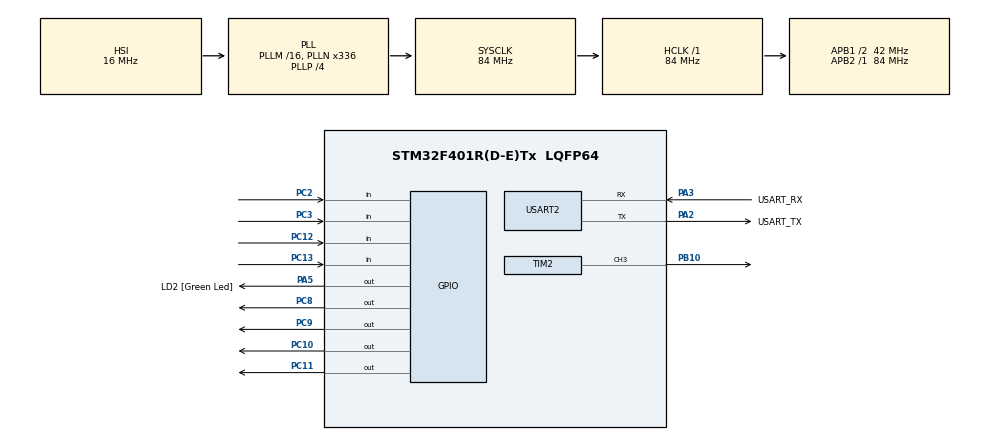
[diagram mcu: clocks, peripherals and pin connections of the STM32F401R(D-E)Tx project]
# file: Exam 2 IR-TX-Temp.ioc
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ADC1.Channel-0\#ChannelRegularConversion=ADC_CHANNEL_TEMPSENSOR
ADC1.NbrOfConversionFlag=1
ADC1.Rank-0\#ChannelRegularConversion=1
ADC1.SamplingTime-0\#ChannelRegularConversion=ADC_SAMPLETIME_480CYCLES
ADC1.master=1
Dma.ADC1.0.Direction=DMA_PERIPH_TO_MEMORY
Dma.ADC1.0.FIFOMode=DMA_FIFOMODE_DISABLE
Dma.ADC1.0.Instance=DMA2_Stream0
Dma.ADC1.0.MemDataAlignment=DMA_MDATAALIGN_HALFWORD
Dma.ADC1.0.MemInc=DMA_MINC_ENABLE
Dma.ADC1.0.Mode=DMA_CIRCULAR
Dma.ADC1.0.PeriphDataAlignment=DMA_PDATAALIGN_HALFWORD
Dma.ADC1.0.PeriphInc=DMA_PINC_DISABLE
Dma.ADC1.0.Priority=DMA_PRIORITY_LOW
Dma.Request0=ADC1
Mcu.Family=STM32F4
Mcu.Name=STM32F401R(D-E)Tx
Mcu.Package=LQFP64
NVIC.ADC_IRQn=true\:0\:0\:false\:false\:true\:true\:true\:true
NVIC.DMA2_Stream0_IRQn=true\:0\:0\:false\:false\:true\:false\:true\:true
NVIC.PriorityGroup=NVIC_PRIORITYGROUP_0
NVIC.TIM1_UP_TIM10_IRQn=true\:0\:0\:false\:false\:true\:true\:true\:true
NVIC.TIM2_IRQn=true\:0\:0\:false\:false\:true\:true\:true\:true
NVIC.TIM3_IRQn=true\:0\:0\:false\:false\:true\:true\:true\:true
PA13.GPIO_Label=TMS
PA13.Mode=Serial_Wire
PA13.Signal=SYS_JTMS-SWDIO
PA14.GPIO_Label=TCK
PA14.Mode=Serial_Wire
PA14.Signal=SYS_JTCK-SWCLK
PA2.GPIO_Label=USART_TX
PA2.GPIO_Mode=GPIO_MODE_AF_PP
PA2.GPIO_PuPd=GPIO_NOPULL
PA2.GPIO_Speed=GPIO_SPEED_FREQ_LOW
PA2.Mode=Asynchronous
PA2.Signal=USART2_TX
PA3.GPIO_Label=USART_RX
PA3.GPIO_Mode=GPIO_MODE_AF_PP
PA3.GPIO_PuPd=GPIO_NOPULL
PA3.GPIO_Speed=GPIO_SPEED_FREQ_LOW
PA3.Mode=Asynchronous
PA3.Signal=USART2_RX
PA5.GPIO_Label=LD2 [Green Led]
PA5.GPIO_Mode=GPIO_MODE_OUTPUT_PP
PA5.GPIO_PuPd=GPIO_NOPULL
PA5.GPIO_Speed=GPIO_SPEED_FREQ_LOW
PA5.Signal=GPIO_Output
PB10.Signal=S_TIM2_CH3
PB3.GPIO_Label=SWO
PB3.Signal=SYS_JTDO-SWO
PC10.Signal=GPIO_Output
PC11.Signal=GPIO_Output
PC12.Signal=GPIO_Input
PC13-ANTI_TAMP.Signal=GPIO_Input
PC14-OSC32_IN.Mode=LSE-External-Oscillator
PC14-OSC32_IN.Signal=RCC_OSC32_IN
PC15-OSC32_OUT.Mode=LSE-External-Oscillator
PC15-OSC32_OUT.Signal=RCC_OSC32_OUT
PC2.Signal=GPIO_Input
PC3.Signal=GPIO_Input
PC8.Signal=GPIO_Output
PC9.Signal=GPIO_Output
PH0\ -\ OSC_IN.Mode=HSE-External-Clock-Source
PH0\ -\ OSC_IN.Signal=RCC_OSC_IN
PH1\ -\ OSC_OUT.Mode=HSE-External-Clock-Source
PH1\ -\ OSC_OUT.Signal=RCC_OSC_OUT
ProjectManager.HeapSize=0x200
ProjectManager.StackSize=0x400
ProjectManager.TargetToolchain=STM32CubeIDE
RCC.48MHZClocksFreq_Value=48000000
RCC.AHBFreq_Value=84000000
RCC.APB1CLKDivider=RCC_HCLK_DIV2
RCC.APB1Freq_Value=42000000
RCC.APB1TimFreq_Value=84000000
RCC.APB2Freq_Value=84000000
RCC.APB2TimFreq_Value=84000000
RCC.CortexFreq_Value=84000000
RCC.HCLKFreq_Value=84000000
RCC.HSE_VALUE=8000000
RCC.HSI_VALUE=16000000
RCC.PLLN=336
RCC.PLLP=RCC_PLLP_DIV4
RCC.PLLQ=7
RCC.SYSCLKFreq_VALUE=84000000
RCC.SYSCLKSource=RCC_SYSCLKSOURCE_PLLCLK
RCC.VCOOutputFreq_Value=336000000
SH.S_TIM2_CH3.0=TIM2_CH3,PWM Generation3 CH3
TIM1.Period=499
TIM1.Prescaler=69
TIM2.Channel-PWM\ Generation3\ CH3=TIM_CHANNEL_3
TIM2.Period=60
TIM2.Prescaler=35
TIM2.Pulse-PWM\ Generation3\ CH3=30
TIM3.Period=10000-1
TIM3.Prescaler=8400-1
USART2.VirtualMode=VM_ASYNC
VP_ADC1_TempSens_Input.Mode=IN-TempSens
VP_TIM1_VS_ClockSourceINT.Mode=Internal
VP_TIM2_VS_ClockSourceINT.Mode=Internal
VP_TIM3_VS_ClockSourceINT.Mode=Internal
board=NUCLEO-F401RE

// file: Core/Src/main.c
/* USER CODE BEGIN Header */
/**
 ******************************************************************************
 * @file           : main.c
 * @brief          : Main program body
 ******************************************************************************
 * @attention
 *
 * Copyright (c) 2023 STMicroelectronics.
 * All rights reserved.
 *
 * This software is licensed under terms that can be found in the LICENSE file
 * in the root directory of this software component.
 * If no LICENSE file comes with this software, it is provided AS-IS.
 *
 ******************************************************************************
 */
/* USER CODE END Header */
#include "main.h"

/* USER CODE BEGIN Includes */
#include <stdio.h>
#include <string.h>
/* USER CODE END Includes */

/* USER CODE BEGIN PD */
#define QUEUE_SIZE 100
#define N_ROWS_K 4
#define N_COLS_K 4
/* USER CODE END PD */

ADC_HandleTypeDef hadc1;
DMA_HandleTypeDef hdma_adc1;

TIM_HandleTypeDef htim1;
TIM_HandleTypeDef htim2;
TIM_HandleTypeDef htim3;

UART_HandleTypeDef huart2;

/* USER CODE BEGIN PV */
struct Queue {
	uint8_t items[QUEUE_SIZE];
	int front;
	int rear;
	int size;
} tx_queue;
int transmitting = 0;

const uint16_t k_input[] = { GPIO_PIN_3, GPIO_PIN_2, GPIO_PIN_13, GPIO_PIN_12 };
const uint16_t k_output[] = { GPIO_PIN_8, GPIO_PIN_9, GPIO_PIN_10, GPIO_PIN_11 };
uint16_t t;
/* USER CODE END PV */

void SystemClock_Config(void);
static void MX_GPIO_Init(void);
static void MX_DMA_Init(void);
static void MX_USART2_UART_Init(void);
static void MX_TIM2_Init(void);
static void MX_TIM3_Init(void);
static void MX_TIM1_Init(void);
static void MX_ADC1_Init(void);
/* USER CODE BEGIN PFP */
void init_queue(struct Queue* q);
int isFull(struct Queue *queue);
int isEmpty(struct Queue *queue);
int enqueue(struct Queue *queue, uint8_t item);
uint8_t dequeue(struct Queue *queue);
uint8_t* front(struct Queue *queue);
void transmit(uint8_t value);

/* USER CODE END PFP */

/* USER CODE BEGIN 0 */

void HAL_TIM_PeriodElapsedCallback(TIM_HandleTypeDef *htim) {
	if (htim == &htim1) {
		static int8_t bit_counter = -1; //bit that has to be transmitted
		static int8_t parity = 0; //parity bit memorization
		static int8_t tim_on = 0; //status of the timer
		static uint8_t data = 0; //byte to be sent
		uint8_t bit_tx; //bit to transmit

		if (bit_counter == -1) { //start bit
			data = dequeue(&tx_queue); //get the full byte to be sent
			bit_tx = 0; //transmit 0
		} else if (bit_counter < 7) { //7 bit of data transmission
			bit_tx = data & 0b00000001; //extract first bit
			data = data >> 1; //shift data for next transmission
			if (bit_tx)
				parity = !parity; //calculate parity (if a 1 is found switch parity)
		} else if (bit_counter == 7) { //partity bit transmission
			bit_tx = parity;
		} else if (bit_counter == 8) { //last transmission
			bit_tx = 1;
		}

		//transmission section
		if (bit_tx && tim_on) { //to transmit 1 turn off PWM
			HAL_TIM_PWM_Stop(&htim2, TIM_CHANNEL_3);
			tim_on = 0;

		} else if (!bit_tx && !tim_on) { //to transmit 0 turn on PWM
			HAL_TIM_PWM_Start(&htim2, TIM_CHANNEL_3);
			tim_on = 1;
		}

		if (bit_counter >= 8) { //reset variables for next transmission
			bit_counter = -1;
			parity = 0;
			if (isEmpty(&tx_queue)){ //if there is nothing more to transmit stop timer
				HAL_TIM_Base_Stop_IT(&htim1);
				transmitting = 0;
			}
			return;
		}

		bit_counter++;

	}else if (htim == &htim3) {
		 HAL_ADC_Start_DMA(&hadc1, (uint32_t*) &t, 1);
	}
}

void HAL_ADC_ConvCpltCallback(ADC_HandleTypeDef* hadc) {
    // ADC conversion complete callback
    if (hadc == &hadc1) {
    	char string[128];

    	float temp = (((float)t/4095.0 *3.3) - 0.76)/0.025 + 25;

    	snprintf(string, sizeof(string), "Temp: %.3f\r\n", temp);

    	for(int i = 0; i < strlen(string) + 1; i++){
    		transmit(string[i]);
    	}

    }
}

//to transmit data simply set current data value and start the timer

/* USER CODE END 0 */

int main(void)
{
  /* USER CODE BEGIN 1 */
	init_queue(&tx_queue);
  /* USER CODE END 1 */

  /* MCU Configuration--------------------------------------------------------*/

  /* Reset of all peripherals, Initializes the Flash interface and the Systick. */
  HAL_Init();

  /* Configure the system clock */
  SystemClock_Config();

  /* Initialize all configured peripherals */
  MX_GPIO_Init();
  MX_DMA_Init();
  MX_USART2_UART_Init();
  MX_TIM2_Init();
  MX_TIM3_Init();
  MX_TIM1_Init();
  MX_ADC1_Init();
  /* USER CODE BEGIN 2 */
  HAL_TIM_Base_Start_IT(&htim3);

  /* USER CODE END 2 */

  /* Infinite loop */
	while (1) {

	}
}

void SystemClock_Config(void)
{
  RCC_OscInitTypeDef RCC_OscInitStruct = {0};
  RCC_ClkInitTypeDef RCC_ClkInitStruct = {0};

  /** Configure the main internal regulator output voltage
  */
  __HAL_RCC_PWR_CLK_ENABLE();
  __HAL_PWR_VOLTAGESCALING_CONFIG(PWR_REGULATOR_VOLTAGE_SCALE2);

  /** Initializes the RCC Oscillators according to the specified parameters
  * in the RCC_OscInitTypeDef structure.
  */
  RCC_OscInitStruct.OscillatorType = RCC_OSCILLATORTYPE_HSI;
  RCC_OscInitStruct.HSIState = RCC_HSI_ON;
  RCC_OscInitStruct.HSICalibrationValue = RCC_HSICALIBRATION_DEFAULT;
  RCC_OscInitStruct.PLL.PLLState = RCC_PLL_ON;
  RCC_OscInitStruct.PLL.PLLSource = RCC_PLLSOURCE_HSI;
  RCC_OscInitStruct.PLL.PLLM = 16;
  RCC_OscInitStruct.PLL.PLLN = 336;
  RCC_OscInitStruct.PLL.PLLP = RCC_PLLP_DIV4;
  RCC_OscInitStruct.PLL.PLLQ = 7;
  if (HAL_RCC_OscConfig(&RCC_OscInitStruct) != HAL_OK)
  {
    Error_Handler();
  }

  /** Initializes the CPU, AHB and APB buses clocks
  */
  RCC_ClkInitStruct.ClockType = RCC_CLOCKTYPE_HCLK|RCC_CLOCKTYPE_SYSCLK
                              |RCC_CLOCKTYPE_PCLK1|RCC_CLOCKTYPE_PCLK2;
  RCC_ClkInitStruct.SYSCLKSource = RCC_SYSCLKSOURCE_PLLCLK;
  RCC_ClkInitStruct.AHBCLKDivider = RCC_SYSCLK_DIV1;
  RCC_ClkInitStruct.APB1CLKDivider = RCC_HCLK_DIV2;
  RCC_ClkInitStruct.APB2CLKDivider = RCC_HCLK_DIV1;

  if (HAL_RCC_ClockConfig(&RCC_ClkInitStruct, FLASH_LATENCY_2) != HAL_OK)
  {
    Error_Handler();
  }
}

static void MX_ADC1_Init(void)
{

  ADC_ChannelConfTypeDef sConfig = {0};

  /** Configure the global features of the ADC (Clock, Resolution, Data Alignment and number of conversion)
  */
  hadc1.Instance = ADC1;
  hadc1.Init.ClockPrescaler = ADC_CLOCK_SYNC_PCLK_DIV4;
  hadc1.Init.Resolution = ADC_RESOLUTION_12B;
  hadc1.Init.ScanConvMode = DISABLE;
  hadc1.Init.ContinuousConvMode = DISABLE;
  hadc1.Init.DiscontinuousConvMode = DISABLE;
  hadc1.Init.ExternalTrigConvEdge = ADC_EXTERNALTRIGCONVEDGE_NONE;
  hadc1.Init.ExternalTrigConv = ADC_SOFTWARE_START;
  hadc1.Init.DataAlign = ADC_DATAALIGN_RIGHT;
  hadc1.Init.NbrOfConversion = 1;
  hadc1.Init.DMAContinuousRequests = DISABLE;
  hadc1.Init.EOCSelection = ADC_EOC_SINGLE_CONV;
  if (HAL_ADC_Init(&hadc1) != HAL_OK)
  {
    Error_Handler();
  }

  /** Configure for the selected ADC regular channel its corresponding rank in the sequencer and its sample time.
  */
  sConfig.Channel = ADC_CHANNEL_TEMPSENSOR;
  sConfig.Rank = 1;
  sConfig.SamplingTime = ADC_SAMPLETIME_480CYCLES;
  if (HAL_ADC_ConfigChannel(&hadc1, &sConfig) != HAL_OK)
  {
    Error_Handler();
  }

}

static void MX_TIM1_Init(void)
{

  TIM_ClockConfigTypeDef sClockSourceConfig = {0};
  TIM_MasterConfigTypeDef sMasterConfig = {0};

  htim1.Instance = TIM1;
  htim1.Init.Prescaler = 69;
  htim1.Init.CounterMode = TIM_COUNTERMODE_UP;
  htim1.Init.Period = 499;
  htim1.Init.ClockDivision = TIM_CLOCKDIVISION_DIV1;
  htim1.Init.RepetitionCounter = 0;
  htim1.Init.AutoReloadPreload = TIM_AUTORELOAD_PRELOAD_DISABLE;
  if (HAL_TIM_Base_Init(&htim1) != HAL_OK)
  {
    Error_Handler();
  }
  sClockSourceConfig.ClockSource = TIM_CLOCKSOURCE_INTERNAL;
  if (HAL_TIM_ConfigClockSource(&htim1, &sClockSourceConfig) != HAL_OK)
  {
    Error_Handler();
  }
  sMasterConfig.MasterOutputTrigger = TIM_TRGO_RESET;
  sMasterConfig.MasterSlaveMode = TIM_MASTERSLAVEMODE_DISABLE;
  if (HAL_TIMEx_MasterConfigSynchronization(&htim1, &sMasterConfig) != HAL_OK)
  {
    Error_Handler();
  }

}

static void MX_TIM2_Init(void)
{

  TIM_ClockConfigTypeDef sClockSourceConfig = {0};
  TIM_MasterConfigTypeDef sMasterConfig = {0};
  TIM_OC_InitTypeDef sConfigOC = {0};

  htim2.Instance = TIM2;
  htim2.Init.Prescaler = 35;
  htim2.Init.CounterMode = TIM_COUNTERMODE_UP;
  htim2.Init.Period = 60;
  htim2.Init.ClockDivision = TIM_CLOCKDIVISION_DIV1;
  htim2.Init.AutoReloadPreload = TIM_AUTORELOAD_PRELOAD_DISABLE;
  if (HAL_TIM_Base_Init(&htim2) != HAL_OK)
  {
    Error_Handler();
  }
  sClockSourceConfig.ClockSource = TIM_CLOCKSOURCE_INTERNAL;
  if (HAL_TIM_ConfigClockSource(&htim2, &sClockSourceConfig) != HAL_OK)
  {
    Error_Handler();
  }
  if (HAL_TIM_PWM_Init(&htim2) != HAL_OK)
  {
    Error_Handler();
  }
  sMasterConfig.MasterOutputTrigger = TIM_TRGO_RESET;
  sMasterConfig.MasterSlaveMode = TIM_MASTERSLAVEMODE_DISABLE;
  if (HAL_TIMEx_MasterConfigSynchronization(&htim2, &sMasterConfig) != HAL_OK)
  {
    Error_Handler();
  }
  sConfigOC.OCMode = TIM_OCMODE_PWM1;
  sConfigOC.Pulse = 30;
  sConfigOC.OCPolarity = TIM_OCPOLARITY_HIGH;
  sConfigOC.OCFastMode = TIM_OCFAST_DISABLE;
  if (HAL_TIM_PWM_ConfigChannel(&htim2, &sConfigOC, TIM_CHANNEL_3) != HAL_OK)
  {
    Error_Handler();
  }
  HAL_TIM_MspPostInit(&htim2);

}

static void MX_TIM3_Init(void)
{

  TIM_ClockConfigTypeDef sClockSourceConfig = {0};
  TIM_MasterConfigTypeDef sMasterConfig = {0};

  htim3.Instance = TIM3;
  htim3.Init.Prescaler = 8400-1;
  htim3.Init.CounterMode = TIM_COUNTERMODE_UP;
  htim3.Init.Period = 10000-1;
  htim3.Init.ClockDivision = TIM_CLOCKDIVISION_DIV1;
  htim3.Init.AutoReloadPreload = TIM_AUTORELOAD_PRELOAD_DISABLE;
  if (HAL_TIM_Base_Init(&htim3) != HAL_OK)
  {
    Error_Handler();
  }
  sClockSourceConfig.ClockSource = TIM_CLOCKSOURCE_INTERNAL;
  if (HAL_TIM_ConfigClockSource(&htim3, &sClockSourceConfig) != HAL_OK)
  {
    Error_Handler();
  }
  sMasterConfig.MasterOutputTrigger = TIM_TRGO_RESET;
  sMasterConfig.MasterSlaveMode = TIM_MASTERSLAVEMODE_DISABLE;
  if (HAL_TIMEx_MasterConfigSynchronization(&htim3, &sMasterConfig) != HAL_OK)
  {
    Error_Handler();
  }

}

static void MX_USART2_UART_Init(void)
{

  huart2.Instance = USART2;
  huart2.Init.BaudRate = 115200;
  huart2.Init.WordLength = UART_WORDLENGTH_8B;
  huart2.Init.StopBits = UART_STOPBITS_1;
  huart2.Init.Parity = UART_PARITY_NONE;
  huart2.Init.Mode = UART_MODE_TX_RX;
  huart2.Init.HwFlowCtl = UART_HWCONTROL_NONE;
  huart2.Init.OverSampling = UART_OVERSAMPLING_16;
  if (HAL_UART_Init(&huart2) != HAL_OK)
  {
    Error_Handler();
  }

}

static void MX_DMA_Init(void)
{

  /* DMA controller clock enable */
  __HAL_RCC_DMA2_CLK_ENABLE();

  /* DMA interrupt init */
  /* DMA2_Stream0_IRQn interrupt configuration */
  HAL_NVIC_SetPriority(DMA2_Stream0_IRQn, 0, 0);
  HAL_NVIC_EnableIRQ(DMA2_Stream0_IRQn);

}

static void MX_GPIO_Init(void)
{
  GPIO_InitTypeDef GPIO_InitStruct = {0};

  /* GPIO Ports Clock Enable */
  __HAL_RCC_GPIOC_CLK_ENABLE();
  __HAL_RCC_GPIOH_CLK_ENABLE();
  __HAL_RCC_GPIOA_CLK_ENABLE();
  __HAL_RCC_GPIOB_CLK_ENABLE();

  /*Configure GPIO pin Output Level */
  HAL_GPIO_WritePin(LD2_GPIO_Port, LD2_Pin, GPIO_PIN_RESET);

  /*Configure GPIO pin Output Level */
  HAL_GPIO_WritePin(GPIOC, GPIO_PIN_8|GPIO_PIN_9|GPIO_PIN_10|GPIO_PIN_11, GPIO_PIN_RESET);

  /*Configure GPIO pins : PC13 PC2 PC3 PC12 */
  GPIO_InitStruct.Pin = GPIO_PIN_13|GPIO_PIN_2|GPIO_PIN_3|GPIO_PIN_12;
  GPIO_InitStruct.Mode = GPIO_MODE_INPUT;
  GPIO_InitStruct.Pull = GPIO_NOPULL;
  HAL_GPIO_Init(GPIOC, &GPIO_InitStruct);

  /*Configure GPIO pin : LD2_Pin */
  GPIO_InitStruct.Pin = LD2_Pin;
  GPIO_InitStruct.Mode = GPIO_MODE_OUTPUT_PP;
  GPIO_InitStruct.Pull = GPIO_NOPULL;
  GPIO_InitStruct.Speed = GPIO_SPEED_FREQ_LOW;
  HAL_GPIO_Init(LD2_GPIO_Port, &GPIO_InitStruct);

  /*Configure GPIO pins : PC8 PC9 PC10 PC11 */
  GPIO_InitStruct.Pin = GPIO_PIN_8|GPIO_PIN_9|GPIO_PIN_10|GPIO_PIN_11;
  GPIO_InitStruct.Mode = GPIO_MODE_OUTPUT_PP;
  GPIO_InitStruct.Pull = GPIO_NOPULL;
  GPIO_InitStruct.Speed = GPIO_SPEED_FREQ_LOW;
  HAL_GPIO_Init(GPIOC, &GPIO_InitStruct);

}

/* USER CODE BEGIN 4 */
void init_queue(struct Queue* q){
	q->front = 0;
	q->rear = QUEUE_SIZE - 1;
	q->size = 0;
}
int isFull(struct Queue *queue) {
	return queue->size == QUEUE_SIZE;
}

int isEmpty(struct Queue *queue) {
	return (queue->size == 0);
}

int enqueue(struct Queue *queue, uint8_t item) {
	if (isFull(queue))
		return 0;
	queue->rear = (queue->rear + 1) % QUEUE_SIZE;
	queue->items[queue->rear] = item;
	queue->size = queue->size + 1;
	return 1;
}

uint8_t dequeue(struct Queue *queue) {
	if (isEmpty(queue))
		Error_Handler(); //if dequeue with empty queue return error!

	uint8_t item = queue->items[queue->front];
	queue->front = (queue->front + 1) % QUEUE_SIZE;
	queue->size = queue->size - 1;
	return item;
}

uint8_t* front(struct Queue* queue)
{
    if (isEmpty(queue)) Error_Handler();
    return &(queue->items[queue->front]);
}

void transmit(uint8_t value) {
	enqueue(&tx_queue, value);
	if(!transmitting){
		HAL_TIM_Base_Start_IT(&htim1);
		transmitting = 1;
	}
}
/* USER CODE END 4 */

void Error_Handler(void)
{
	__disable_irq();
	while (1) {
	}
}
